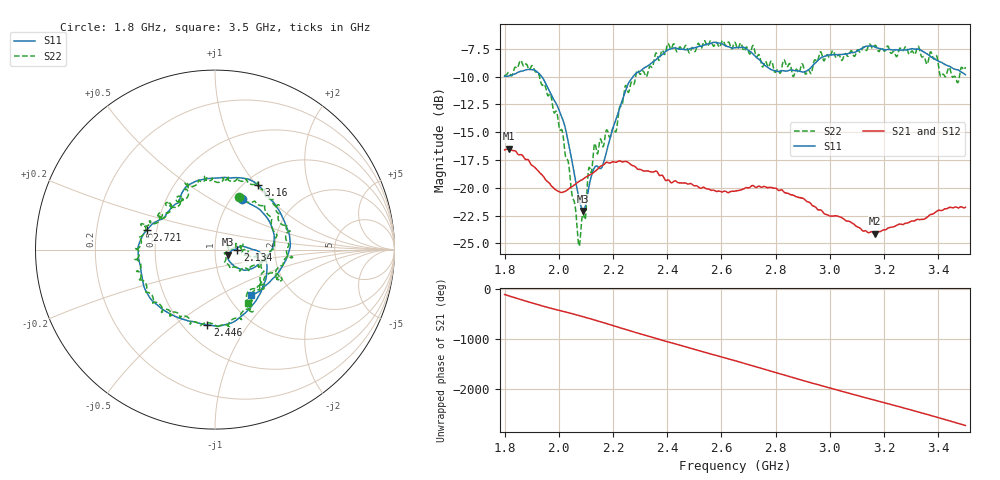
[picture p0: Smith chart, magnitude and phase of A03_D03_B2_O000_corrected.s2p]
! Created with skrf 1.9.0 (http://scikit-rf.org).
# Hz S RI R 50.0
!freq ReS11 ImS11 ReS21 ImS21 ReS12 ImS12 ReS22 ImS22
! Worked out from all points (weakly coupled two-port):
!   1601 points, 1.8 GHz to 3.5 GHz, reference 50 ohm
!   highest |S21| = -16.49 dB at 1.817 GHz (marker M1); lowest = -24.1 dB at 3.165 GHz (marker M2)
!   lowest |S11| = -22.1 dB at 2.09 GHz (marker M3), VSWR 1.17, Z = 57.9 - j3.22 ohm
!   |S11| at or under -10 dB: 1.937 GHz to 2.274 GHz (336.4 MHz wide, 16 % of centre)
!   |S22| runs from -25.3 to -6.7 dB; largest |S21 - S12| = 0.0026
!   S11 on the Smith chart (normalised r, x): 1.8 GHz: 1.12, +0.70; 2.134 GHz: 1.28, -0.00; 2.446 GHz: 0.65, -0.66; 2.721 GHz: 0.44, +0.11; 3.16 GHz: 1.15, +1.02; 3.5 GHz: 1.27, -0.72
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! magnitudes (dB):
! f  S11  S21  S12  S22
! 1.8 GHz  -10.0  -16.6  -16.6  -9.8
! 1.817 GHz  -9.9  -16.5  -16.5  -9.6
! 1.903 GHz  -9.4  -18.0  -18.0  -9.0
! 1.968 GHz  -11.4  -19.7  -19.7  -11.5
! 2.015 GHz  -13.9  -20.4  -20.4  -15.1
! 2.072 GHz  -20.7  -19.5  -19.5  -24.9
! 2.084 GHz  -21.8  -19.3  -19.3  -23.1
! 2.09 GHz  -22.1  -19.2  -19.3  -22.3
! 2.134 GHz  -18.1  -18.5  -18.5  -16.0
! 2.162 GHz  -18.0  -18.0  -17.9  -16.3
! 2.26 GHz  -10.5  -17.8  -17.8  -11.2
! 2.367 GHz  -8.3  -18.7  -18.7  -8.5
! 2.446 GHz  -7.5  -19.6  -19.6  -7.3
! 2.65 GHz  -7.4  -20.3  -20.3  -6.9
! 2.721 GHz  -8.1  -19.9  -19.8  -7.5
! 2.803 GHz  -9.5  -20.1  -20.1  -9.5
! 2.934 GHz  -9.1  -21.6  -21.5  -9.5
! 3.16 GHz  -7.3  -24.1  -24.0  -7.4
! 3.165 GHz  -7.3  -24.1  -24.1  -7.2
! 3.217 GHz  -7.5  -23.6  -23.6  -7.4
! 3.468 GHz  -9.4  -21.8  -21.7  -10.4
! 3.5 GHz  -9.8  -21.8  -21.7  -9.1
